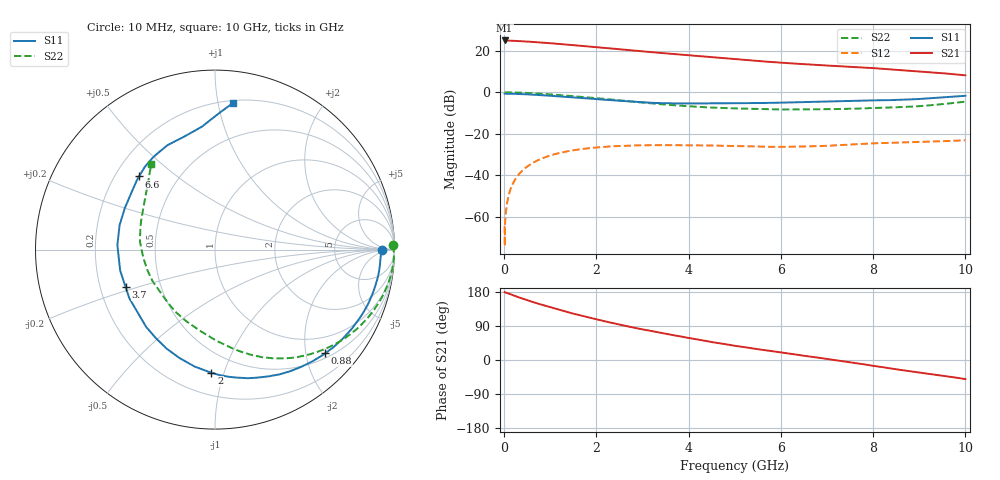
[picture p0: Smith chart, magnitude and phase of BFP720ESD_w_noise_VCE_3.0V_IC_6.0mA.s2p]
! Infineon Technologies  Discrete & RF Semiconductors
! BFP720ESD
! VCE =  3.0 V,  IC =  6.0 mA
! Common Emitter S-Parameters:  Jan 2016
# GHz  S  MA  R  50
!  f  S11  S21  S12  S22
! GHz  MAG  ANG  MAG  ANG  MAG  ANG  MAG  ANG
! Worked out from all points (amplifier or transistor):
!   233 points, 10 MHz to 10 GHz, reference 50 ohm
!   highest |S21| = 24.9 dB at 10 MHz (marker M1)
!   |S21| within 3 dB of that: start of sweep to 1.876 GHz
!   unconditionally stable (mu >= 1): 14.74 MHz to 15.19 MHz; 5.611 GHz to 9.232 GHz
!   at 200 MHz: K = 0.05, MSG = 34.1 dB, |S12| = -43.5 dB
!   at 1.74 GHz: K = 0.29, MSG = 24.7 dB, |S12| = -27.1 dB
!   at 10 GHz: K = 0.71, MSG = 15.6 dB, |S12| = -23.1 dB
!   lowest NFmin = 0.58 dB at 450 MHz
!   S11 on the Smith chart (normalised r, x): 10 MHz: 29, +0; 880 MHz: 0.60, -2.40; 2 GHz: 0.35, -0.91; 3.7 GHz: 0.31, -0.18; 6.6 GHz: 0.30, +0.37; 10 GHz: 0.22, +1.11
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0.01  0.9332 0.0  17.62 179.0  0.0006 -63.9  0.9941 1.4
0.015  0.9299 -0.4  17.52 178.8  0.0002 20.4  0.9943 0.5
0.02  0.9267 -0.9  17.42 178.6  0.0007 78.9  0.9948 -0.3
0.04  0.9248 -1.8  17.37 177.7  0.0014 82.0  0.997 -1.0
0.14  0.9223 -7.1  17.38 173.4  0.0048 85.0  0.9964 -4.7
0.28  0.9136 -14.2  17.12 167.0  0.0094 80.4  0.9875 -9.4
0.48  0.895 -24.1  16.64 158.7  0.0158 74.1  0.9675 -15.9
0.68  0.8701 -33.8  16.1 150.8  0.0218 67.8  0.9415 -22.1
0.88  0.8431 -43.2  15.5 143.4  0.0273 62.0  0.9115 -28.1
1.3  0.7828 -62.6  14.22 128.6  0.0368 50.6  0.8409 -39.9
1.68  0.7282 -78.9  13.05 116.6  0.0432 41.7  0.7755 -49.4
2  0.6866 -91.7  12.12 107.3  0.0472 35.2  0.7238 -56.8
2.64  0.6087 -117.7  10.49 89.8  0.0521 23.7  0.6185 -71.2
3  0.5767 -131.7  9.667 80.8  0.0533 18.4  0.5662 -78.9
3.4  0.5497 -146.5  8.817 71.6  0.0536 13.7  0.5177 -87.0
3.7  0.5399 -157.1  8.267 64.9  0.0535 10.7  0.4871 -93.2
4.5  0.5445 177.3  6.994 47.3  0.0525 4.4  0.4295 -112.0
5.1  0.5483 163.5  6.123 35.8  0.0506 2.1  0.4067 -124.3
6.6  0.5876 136.1  4.671 9.6  0.0501 3.9  0.3895 -154.8
6.8  0.5951 133.2  4.527 6.3  0.0509 4.4  0.3906 -158.7
8.4  0.6498 106.4  3.532 -22.7  0.0613 1.2  0.4323 164.3
10  0.8229 83.0  2.556 -50.4  0.0702 -5.8  0.5956 126.6
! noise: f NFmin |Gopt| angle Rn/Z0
0.45  0.58  0.43  5  0.13
0.9  0.61  0.42  12  0.14
1.9  0.64  0.36  31  0.13
2.4  0.68  0.34  36  0.14
5.5  0.89  0.11  111  0.08
10  1.47  0.54  -97  0.38
